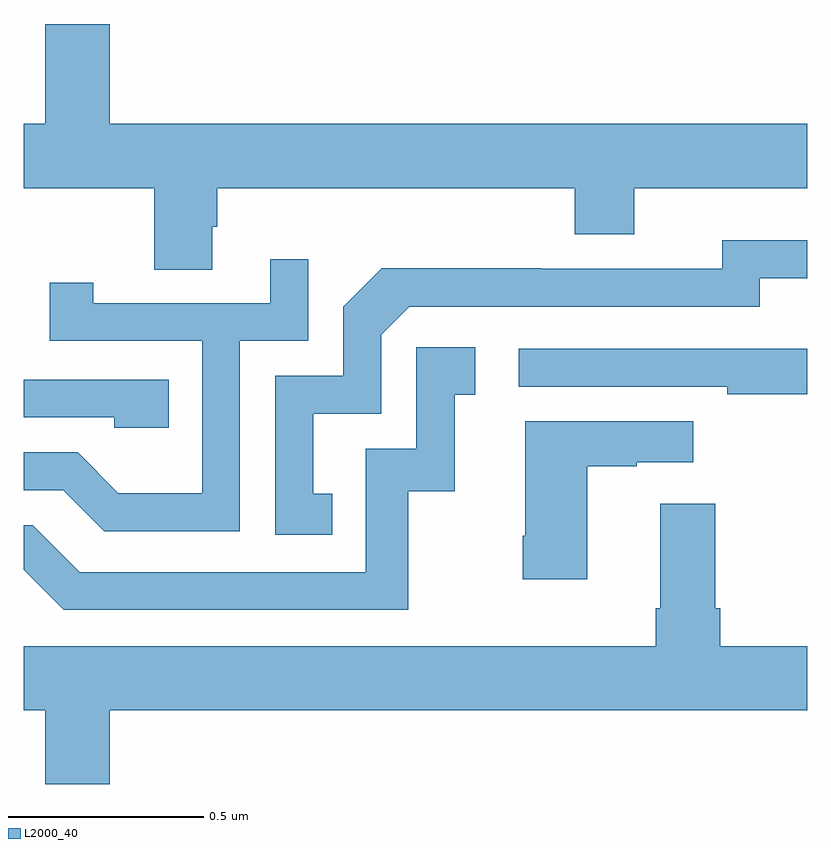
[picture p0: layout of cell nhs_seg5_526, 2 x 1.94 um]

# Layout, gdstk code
import gdstk
lib = gdstk.Library(unit=1e-6, precision=1e-09)
def P(c, l, *ps):  # polygons
    for p in ps: c.add(gdstk.Polygon(p, *l))
L2000_40 = (2000, 40)

nhs_seg5_526 = lib.new_cell('nhs_seg5_526')
P(nhs_seg5_526, L2000_40, [(117.481,903.282),(117.494,903.282),(117.494,903.38),(118.406,903.38),(118.406,903.263),(118.558,903.263),(118.558,903.38),(119,903.38),(119,903.544),(117.22,903.544),(117.22,903.799),(117.056,903.799),(117.056,903.544),(117,903.544),(117,903.38),(117.334,903.38),(117.334,903.172),(117.481,903.172)],
  [(117.788,902.601),(117.739,902.601),(117.739,902.805),(117.912,902.805),(117.912,903.006),(117.984,903.078),(118.878,903.078),(118.878,903.15),(119,903.15),(119,903.247),(118.782,903.247),(118.782,903.174),(118.322,903.174),(118.322,903.176),(117.914,903.176),(117.816,903.078),(117.816,902.901),(117.642,902.901),(117.642,902.496),(117.788,902.496)],
  [(117.552,902.991),(117.726,902.991),(117.726,903.199),(117.629,903.199),(117.629,903.087),(117.178,903.087),(117.178,903.139),(117.067,903.139),(117.067,902.991),(117.456,902.991),(117.456,902.602),(117.242,902.602),(117.138,902.706),(117,902.706),(117,902.61),(117.101,902.61),(117.206,902.505),(117.552,902.505)],
  [(117.982,902.607),(118.1,902.607),(118.1,902.853),(118.153,902.853),(118.153,902.974),(118.002,902.974),(118.002,902.715),(117.873,902.715),(117.873,902.4),(117.144,902.4),(117.024,902.52),(117,902.52),(117,902.406),(117.102,902.304),(117.982,902.304)],
  [(119,902.97),(118.263,902.97),(118.263,902.874),(118.795,902.874),(118.795,902.854),(119,902.854)],
  [(117.371,902.892),(117,902.892),(117,902.796),(117.231,902.796),(117.231,902.769),(117.371,902.769)],
  [(118.438,902.671),(118.565,902.671),(118.565,902.681),(118.708,902.681),(118.708,902.785),(118.28,902.785),(118.28,902.494),(118.273,902.494),(118.273,902.382),(118.438,902.382)],
  [(117.22,902.048),(119,902.048),(119,902.212),(118.778,902.212),(118.778,902.308),(118.765,902.308),(118.765,902.575),(118.625,902.575),(118.625,902.308),(118.613,902.308),(118.613,902.212),(117,902.212),(117,902.048),(117.056,902.048),(117.056,901.86),(117.22,901.86)])

lib.write_gds('nhs_seg5_526.gds')
